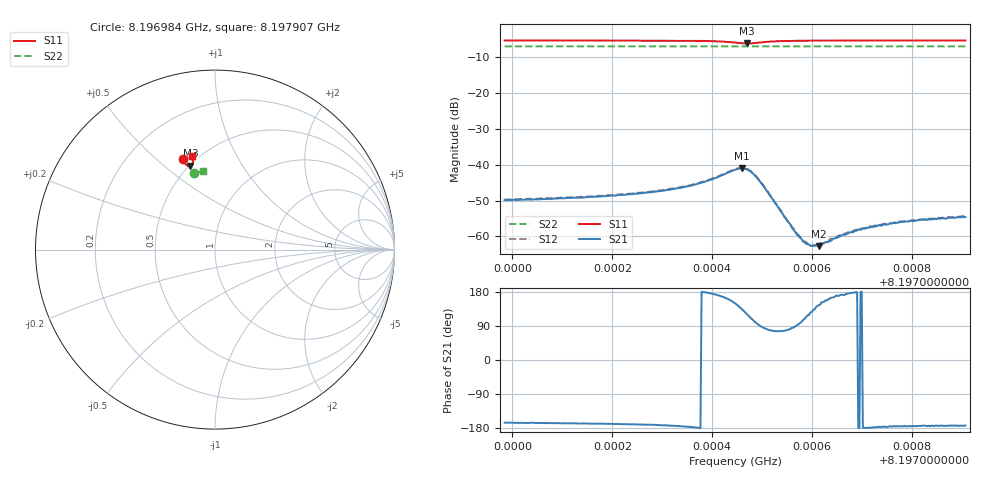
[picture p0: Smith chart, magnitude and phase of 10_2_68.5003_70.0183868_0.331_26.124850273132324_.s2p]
#  HZ  S  RI  R  50.00
! Rohde & Schwarz Vector Network Analyzer
! Rohde-Schwarz,ZNB20-2Port,1311601062101988,3.16
! Created: UTC 3/20/2024, 4:48:59 PM
! freq[Hz]  re:S11  im:S11  re:S21  im:S21  re:S12  im:S12  re:S22  im:S22
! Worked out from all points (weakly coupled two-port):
!   401 points, 8.196984 GHz to 8.197907 GHz, reference 50 ohm
!   highest |S21| = -41.04 dB at 8.197459 GHz (marker M1); lowest = -62.7 dB at 8.197614 GHz (marker M2)
!   lowest |S11| = -6.3 dB at 8.197469 GHz (marker M3), VSWR 2.90, Z = 25.2 + j30.9 ohm
!   |S11| at or under -10 dB: nowhere
!   |S22| runs from -7.1 to -7.0 dB; largest |S21 - S12| = 0.00045
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8.1969843e9  -0.1805 0.5047  -0.00311 -0.000811  -0.0032 -0.000699  -0.1153 0.4288
8.1971388e9  -0.168 0.5085  -0.0034 -0.000753  -0.00351 -0.000638  -0.1069 0.4308
8.1972934e9  -0.1527 0.5114  -0.00421 -0.000621  -0.00435 -0.000442  -0.0981 0.4324
8.1973672e9  -0.1411 0.5107  -0.00532 -0.000176  -0.00546 5.44e-05  -0.0941 0.4332
8.1974064e9  -0.1313 0.5057  -0.00648 0.000797  -0.00655 0.0011  -0.0915 0.4333
8.1974456e9  -0.1227 0.4856  -0.00733 0.00429  -0.00729 0.00468  -0.0894 0.4331
8.1974595e9  -0.1281 0.4731  -0.00619 0.00635  -0.00599 0.00676  -0.0889 0.4331
8.1974687e9  -0.1371 0.4671  -0.00457 0.00732  -0.00432 0.00762  -0.0887 0.4331
8.1974803e9  -0.1506 0.4666  -0.00221 0.00735  -0.00193 0.00756  -0.0883 0.4331
8.1974941e9  -0.1623 0.4745  -0.000222 0.00601  3.15e-05 0.00611  -0.088 0.4334
8.1975564e9  -0.1615 0.5034  0.000217 0.00146  0.000268 0.00145  -0.0844 0.4347
8.1975702e9  -0.1592 0.506  -3.41e-05 0.00105  -2.5e-06 0.00108  -0.0837 0.4349
8.1975864e9  -0.1567 0.5083  -0.000288 0.000759  -0.000262 0.000804  -0.0828 0.4353
8.1976002e9  -0.1547 0.5097  -0.000457 0.000579  -0.000432 0.000616  -0.0818 0.4353
8.197614e9  -0.1527 0.511  -0.000603 0.000416  -0.000628 0.000476  -0.0811 0.4354
8.1976256e9  -0.1514 0.5117  -0.000749 0.000345  -0.000745 0.000357  -0.0805 0.4354
8.1976556e9  -0.1478 0.5135  -0.000986 0.00016  -0.00103 0.000196  -0.0787 0.4357
8.1976809e9  -0.1451 0.5145  -0.00114 5.42e-05  -0.00118 7.7e-05  -0.0773 0.436
8.1977063e9  -0.1427 0.5156  -0.00129 -1.9e-05  -0.00129 1.76e-05  -0.0758 0.4362
8.1977548e9  -0.1381 0.5171  -0.0015 -0.000129  -0.00152 -3.75e-05  -0.073 0.4367
8.197817e9  -0.1328 0.5188  -0.00171 -0.000187  -0.00172 -0.000102  -0.0694 0.4371
8.197907e9  -0.1255 0.5206  -0.00184 -0.000223  -0.00191 -0.000152  -0.0647 0.4378
